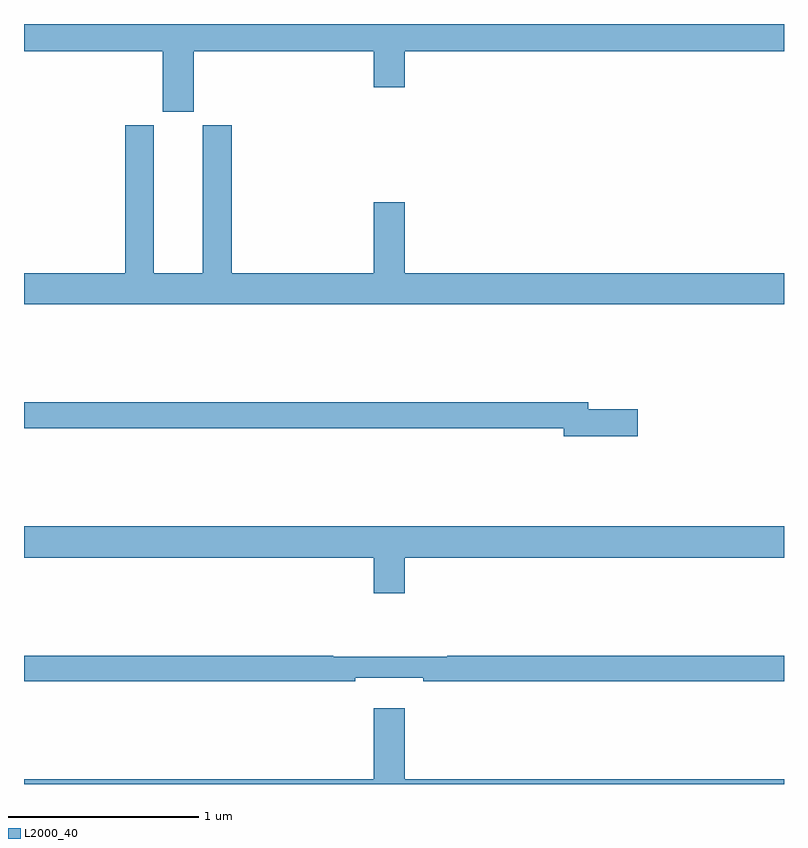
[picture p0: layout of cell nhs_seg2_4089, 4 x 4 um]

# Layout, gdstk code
import gdstk
lib = gdstk.Library(unit=1e-6, precision=1e-09)
def P(c, l, *ps):  # polygons
    for p in ps: c.add(gdstk.Polygon(p, *l))
L2000_40 = (2000, 40)

nhs_seg2_4089 = lib.new_cell('nhs_seg2_4089')
P(nhs_seg2_4089, L2000_40, [(331.894,627.656),(332.84,627.656),(332.84,627.468),(333.004,627.468),(333.004,627.656),(335,627.656),(335,627.8),(331,627.8),(331,627.656),(331.73,627.656),(331.73,627.339),(331.894,627.339)],
  [(335,626.488),(333.004,626.488),(333.004,626.863),(332.84,626.863),(332.84,626.488),(332.093,626.488),(332.093,627.267),(331.94,627.267),(331.94,626.488),(331.684,626.488),(331.684,627.267),(331.532,627.267),(331.532,626.488),(331,626.488),(331,626.324),(335,626.324)],
  [(334.231,625.772),(333.97,625.772),(333.97,625.808),(331,625.808),(331,625.672),(333.842,625.672),(333.842,625.63),(334.231,625.63)],
  [(333.004,624.992),(335,624.992),(335,625.156),(331,625.156),(331,624.992),(332.84,624.992),(332.84,624.804),(333.004,624.804)],
  [(332.744,624.359),(333.1,624.359),(333.1,624.34),(335,624.34),(335,624.476),(333.227,624.476),(333.227,624.469),(332.627,624.469),(332.627,624.476),(331,624.476),(331,624.34),(332.744,624.34)],
  [(335,623.824),(333.004,623.824),(333.004,624.199),(332.84,624.199),(332.84,623.824),(331,623.824),(331,623.8),(335,623.8)])

lib.write_gds('nhs_seg2_4089.gds')
